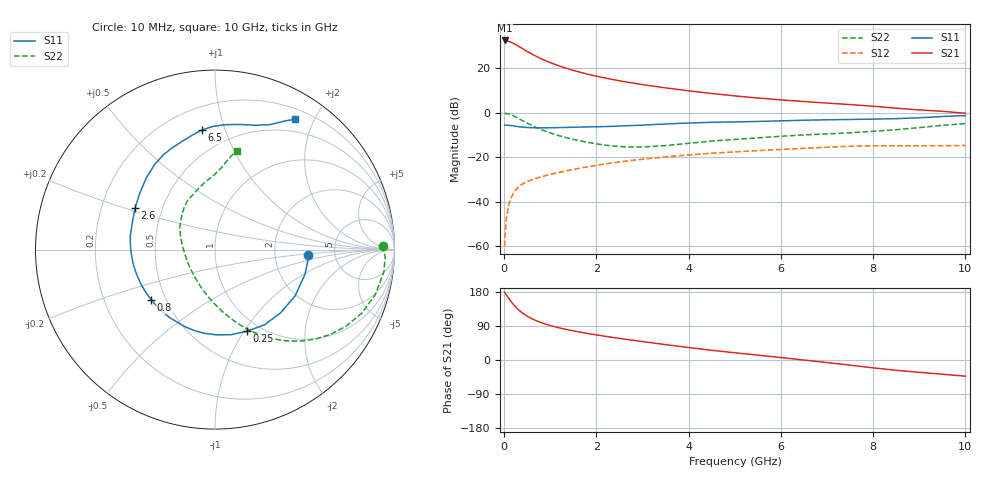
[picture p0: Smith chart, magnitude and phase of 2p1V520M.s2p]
! (c) 2009  Infineon Technologies AG, Munich
! Infineon Technologies  Discrete & RF Semiconductors
! BFP420
! VCE =  1.5 V,  IC =  20 mA
! Common Emitter S-Parameters:  Nov 2009
# GHz  S  MA  R  50
!  f  S11  S21  S12  S22
! GHz  MAG  ANG  MAG  ANG  MAG  ANG  MAG  ANG
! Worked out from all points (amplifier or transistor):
!   46 points, 10 MHz to 10 GHz, reference 50 ohm
!   highest |S21| = 32.3 dB at 10 MHz (marker M1)
!   |S21| within 3 dB of that: start of sweep to 343.5 MHz
!   unconditionally stable (mu >= 1): 1.765 GHz to end of sweep
!   at 300 MHz: K = 0.32, MSG = 31.7 dB, |S12| = -33.6 dB
!   at 1.7 GHz: K = 0.99, MSG = 21.3 dB, |S12| = -24.8 dB
!   at 10 GHz: K = 1.06, MAG = 5.7 dB, |S12| = -14.8 dB
!   lowest NFmin = 1.23 dB at 900 MHz
!   S11 on the Smith chart (normalised r, x): 10 MHz: 3.15, -0.26; 250 MHz: 0.86, -1.03; 800 MHz: 0.42, -0.29; 2.6 GHz: 0.35, +0.22; 6.5 GHz: 0.35, +0.84; 10 GHz: 0.33, +1.74
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0.01  0.5205 -3.3  41.41 179.3  0.001 113.2  0.9356 1.3
0.02  0.5213 -6.0  40.59 176.6  0.0018 87.7  0.9494 -2.6
0.05  0.5201 -15.3  40.37 171.1  0.0043 84.8  0.9486 -7.6
0.1  0.5155 -29.9  39.49 162.4  0.0085 79.1  0.9279 -15.7
0.15  0.5077 -44.0  37.75 154.2  0.0121 74.1  0.8915 -23.3
0.2  0.5014 -56.7  35.7 146.8  0.0155 69.7  0.8465 -30.2
0.25  0.4888 -68.5  33.35 139.9  0.0184 66.0  0.798 -36.3
0.35  0.4751 -88.9  29.05 128.6  0.0231 60.2  0.7005 -46.6
0.4  0.4703 -97.4  27.03 123.8  0.025 58.1  0.6561 -51.0
0.5  0.4606 -111.9  23.46 115.7  0.0282 55.3  0.577 -58.3
0.6  0.4558 -123.9  20.54 109.0  0.031 53.5  0.5123 -64.5
0.8  0.4523 -141.7  16.17 98.8  0.036 51.8  0.4156 -74.5
1  0.455 -155.0  13.19 91.0  0.0407 51.1  0.3485 -83.1
1.2  0.4594 -165.0  11.05 84.7  0.0454 50.7  0.2999 -91.0
1.7  0.4723 176.2  7.76 72.4  0.0577 49.3  0.2249 -109.9
2.6  0.5025 152.3  4.944 55.2  0.08 43.8  0.1702 -147.7
3.5  0.5524 134.0  3.571 40.6  0.101 36.4  0.1808 175.3
5.5  0.6297 107.0  2.116 12.8  0.1395 18.6  0.2694 132.9
6.5  0.6707 96.1  1.762 -0.1  0.1571 9.6  0.3143 118.8
7  0.6864 90.9  1.629 -6.8  0.1663 4.7  0.3304 111.7
8.5  0.7282 72.1  1.252 -27.2  0.1792 -12.2  0.4108 91.5
10  0.8529 58.4  0.964 -42.7  0.1818 -23.3  0.5635 77.7
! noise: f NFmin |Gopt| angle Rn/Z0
0.9  1.23  0.16  -154  0.13
1.8  1.51  0.24  -144  0.13
2.4  1.66  0.22  -141  0.15
3  1.69  0.3  -132  0.16
4  1.82  0.42  -115  0.23
5  2.28  0.48  -96  0.37
6  2.65  0.52  -86  0.56
